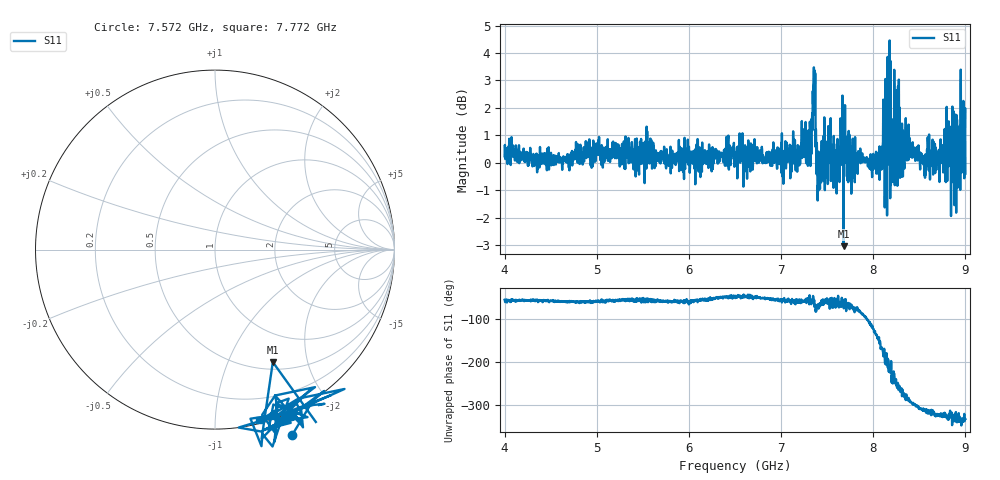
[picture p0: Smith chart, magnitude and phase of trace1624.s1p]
! Created with skrf 1.8.0 (http://scikit-rf.org).
# Hz S RI R 50.0
!freq ReS11 ImS11
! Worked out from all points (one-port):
!   1601 points, 4 GHz to 9 GHz, reference 50 ohm
!   lowest |S11| = -3.0 dB at 7.678 GHz (marker M1), VSWR 5.77, Z = 29.5 - j73.5 ohm
!   |S11| at or under -10 dB: nowhere
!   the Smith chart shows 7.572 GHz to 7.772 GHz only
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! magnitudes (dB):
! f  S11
! 4 GHz  0.2
! 4.625 GHz  -0.3
! 5.25 GHz  -0.1
! 5.875 GHz  0.1
! 6.5 GHz  0.2
! 7.125 GHz  0.4
! 7.294 GHz  0.7
! 7.316 GHz  1.2
! 7.347 GHz  2.1
! 7.369 GHz  3.3
! 7.409 GHz  -0.6
! 7.512 GHz  1.3
! 7.609 GHz  -0.1
! 7.65 GHz  1.4
! 7.678 GHz  -3.0
! 7.75 GHz  0.2
! 8.044 GHz  -0.1
! 8.178 GHz  4.5
! 8.209 GHz  0.6
! 8.253 GHz  1.0
! 8.316 GHz  0.2
! 8.375 GHz  0.5
! 8.556 GHz  -0.5
! 8.816 GHz  -0.1
! 8.856 GHz  0.4
! 8.919 GHz  -0.3
! 8.972 GHz  1.2
! 9 GHz  -0.4
